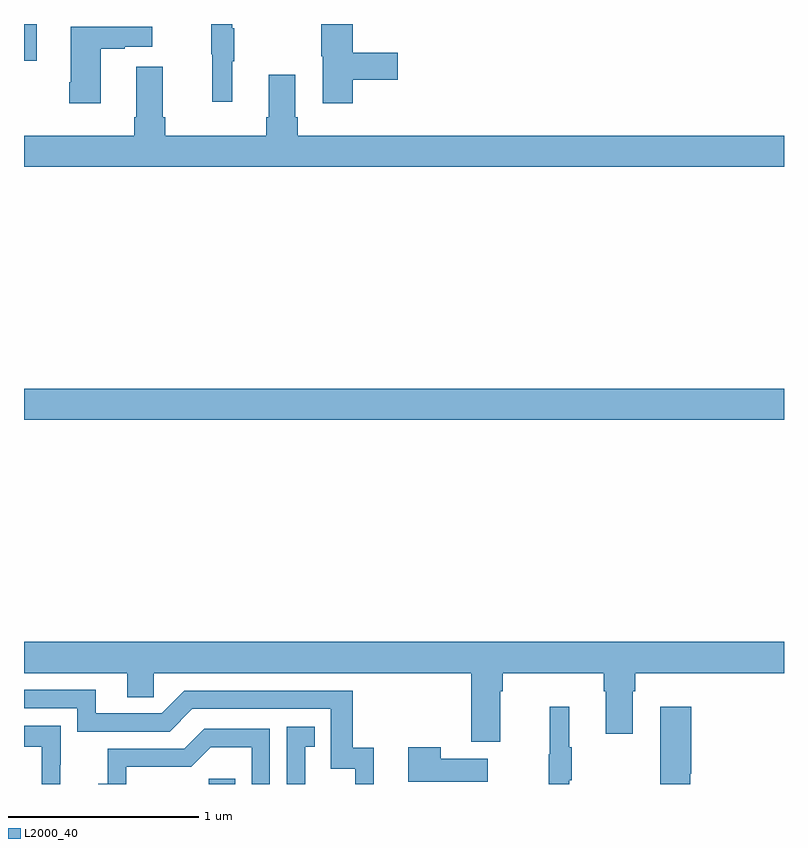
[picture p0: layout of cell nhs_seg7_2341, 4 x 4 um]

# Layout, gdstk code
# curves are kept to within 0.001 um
import gdstk
lib = gdstk.Library(unit=1e-6, precision=1e-09)
def R(c, l, rs):  # rectangles x0, y0, x1, y1
    for r in rs: c.add(gdstk.rectangle(r[:2], r[2:], *l))
def P(c, l, *ps):  # polygons
    for p in ps: c.add(gdstk.Polygon(p, *l))
L2000_40 = (2000, 40)

nhs_seg7_2341 = lib.new_cell('nhs_seg7_2341')
R(nhs_seg7_2341, L2000_40, [(263.973,1032,264.113,1032.027), (263,1033.916,267,1034.08), (263,1035.807,263.066,1036)])
P(nhs_seg7_2341, L2000_40, [(264.731,1035.706),(264.967,1035.706),(264.967,1035.848),(264.731,1035.848),(264.731,1036),(264.565,1036),(264.565,1035.831),(264.572,1035.831),(264.572,1035.582),(264.731,1035.582)],
  [(264.095,1035.803),(264.106,1035.803),(264.106,1035.977),(264.095,1035.977),(264.095,1036),(263.985,1036),(263.985,1035.84),(263.992,1035.84),(263.992,1035.591),(264.095,1035.591)],
  [(263.404,1035.871),(263.531,1035.871),(263.531,1035.881),(263.674,1035.881),(263.674,1035.985),(263.246,1035.985),(263.246,1035.694),(263.239,1035.694),(263.239,1035.582),(263.404,1035.582)],
  [(267,1035.412),(264.44,1035.412),(264.44,1035.508),(264.427,1035.508),(264.427,1035.733),(264.287,1035.733),(264.287,1035.508),(264.275,1035.508),(264.275,1035.412),(263.744,1035.412),(263.744,1035.508),(263.731,1035.508),(263.731,1035.775),(263.591,1035.775),(263.591,1035.508),(263.579,1035.508),(263.579,1035.412),(263,1035.412),(263,1035.248),(267,1035.248)],
  [(265.507,1032.488),(265.52,1032.488),(265.52,1032.584),(266.051,1032.584),(266.051,1032.488),(266.063,1032.488),(266.063,1032.264),(266.203,1032.264),(266.203,1032.488),(266.216,1032.488),(266.216,1032.584),(267,1032.584),(267,1032.748),(263,1032.748),(263,1032.584),(263.543,1032.584),(263.543,1032.457),(263.682,1032.457),(263.682,1032.584),(265.355,1032.584),(265.355,1032.222),(265.507,1032.222)],
  [(264.842,1032.19),(264.731,1032.19),(264.731,1032.492),(263.844,1032.492),(263.724,1032.372),(263.377,1032.372),(263.377,1032.495),(263,1032.495),(263,1032.399),(263.28,1032.399),(263.28,1032.276),(263.766,1032.276),(263.886,1032.396),(264.615,1032.396),(264.615,1032.081),(264.744,1032.081),(264.744,1032),(264.842,1032)],
  [(265.871,1032.019),(265.882,1032.019),(265.882,1032.193),(265.871,1032.193),(265.871,1032.406),(265.768,1032.406),(265.768,1032.156),(265.761,1032.156),(265.761,1032),(265.871,1032)],
  [(266.507,1032.054),(266.512,1032.054),(266.512,1032.406),(266.348,1032.406),(266.348,1032),(266.507,1032)],
  [(263.192,1032.101),(263.193,1032.101),(263.193,1032.307),(263,1032.307),(263,1032.197),(263.093,1032.197),(263.093,1032),(263.192,1032)],
  [(264.481,1032.195),(264.53,1032.195),(264.53,1032.301),(264.384,1032.301),(264.384,1032),(264.481,1032)],
  [(263.538,1032.09),(263.88,1032.09),(263.984,1032.194),(264.198,1032.194),(264.198,1032),(264.294,1032),(264.294,1032.291),(263.948,1032.291),(263.843,1032.186),(263.44,1032.186),(263.44,1032.001),(263.391,1032),(263.538,1032)],
  [(265.441,1032.133),(265.193,1032.133),(265.193,1032.193),(265.022,1032.193),(265.022,1032.011),(265.441,1032.011)])

lib.write_gds('nhs_seg7_2341.gds')
